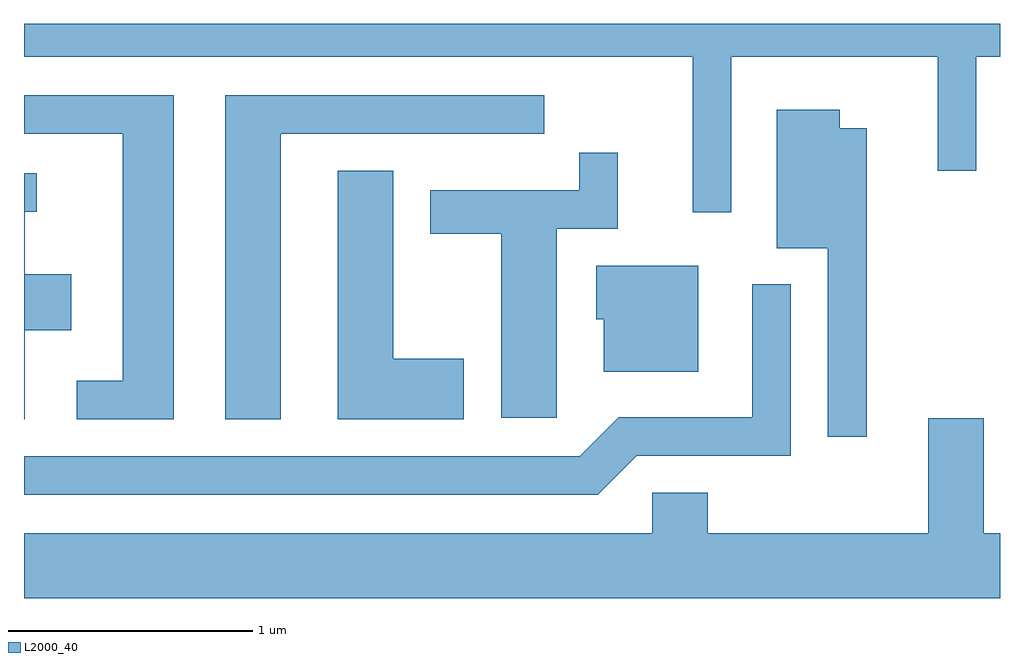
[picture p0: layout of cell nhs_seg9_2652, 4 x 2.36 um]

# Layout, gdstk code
import gdstk
lib = gdstk.Library(unit=1e-6, precision=1e-09)
def P(c, l, *ps):  # polygons
    for p in ps: c.add(gdstk.Polygon(p, *l))
L2000_40 = (2000, 40)

nhs_seg9_2652 = lib.new_cell('nhs_seg9_2652')
P(nhs_seg9_2652, L2000_40, [(266.509,1956.296),(267.356,1956.296),(267.356,1955.828),(267.514,1955.828),(267.514,1956.296),(267.611,1956.296),(267.611,1956.432),(263.611,1956.432),(263.611,1956.296),(266.351,1956.296),(266.351,1955.658),(266.509,1955.658)],
  [(264.664,1955.981),(265.743,1955.981),(265.743,1956.139),(264.436,1956.139),(264.436,1954.811),(264.664,1954.811)],
  [(264.224,1956.139),(263.611,1956.139),(263.611,1955.981),(264.016,1955.981),(264.016,1954.969),(263.828,1954.969),(263.828,1954.811),(264.224,1954.811)],
  [(267.064,1956.004),(266.954,1956.004),(266.954,1956.079),(266.696,1956.079),(266.696,1955.511),(266.906,1955.511),(266.906,1954.738),(267.064,1954.738)],
  [(265.794,1955.591),(266.044,1955.591),(266.044,1955.903),(265.886,1955.903),(265.886,1955.749),(265.276,1955.749),(265.276,1955.571),(265.566,1955.571),(265.566,1954.816),(265.794,1954.816)],
  [(265.414,1955.059),(265.124,1955.059),(265.124,1955.829),(264.896,1955.829),(264.896,1954.811),(265.414,1954.811)],
  [(263.614,1955.176),(263.804,1955.176),(263.804,1955.404),(263.614,1955.404),(263.614,1955.661),(263.663,1955.661),(263.663,1955.819),(263.611,1955.819),(263.611,1954.811),(263.614,1954.811)],
  [(266.374,1955.439),(265.956,1955.439),(265.956,1955.221),(265.986,1955.221),(265.986,1955.006),(266.374,1955.006)],
  [(266.122,1954.661),(266.754,1954.661),(266.754,1955.363),(266.596,1955.363),(266.596,1954.819),(266.049,1954.819),(265.889,1954.659),(263.611,1954.659),(263.611,1954.501),(265.962,1954.501)],
  [(267.611,1954.344),(267.544,1954.344),(267.544,1954.814),(267.316,1954.814),(267.316,1954.344),(266.414,1954.344),(266.414,1954.509),(266.186,1954.509),(266.186,1954.344),(263.611,1954.344),(263.611,1954.076),(267.611,1954.076)])

lib.write_gds('nhs_seg9_2652.gds')
